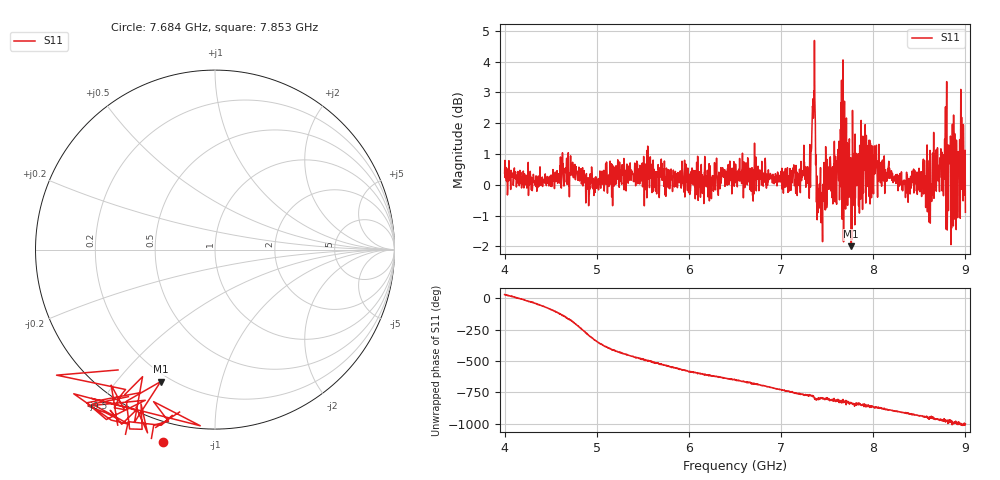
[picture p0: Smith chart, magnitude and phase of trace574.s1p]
! Created with skrf 1.8.0 (http://scikit-rf.org).
# Hz S RI R 50.0
!freq ReS11 ImS11
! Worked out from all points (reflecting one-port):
!   1601 points, 4 GHz to 9 GHz, reference 50 ohm
!   lowest |S11| = -2.0 dB at 7.762 GHz (marker M1), VSWR 8.77, Z = 8.21 - j32.9 ohm
!   phase of S11 starts at 31 deg and turns -1034 deg over the sweep
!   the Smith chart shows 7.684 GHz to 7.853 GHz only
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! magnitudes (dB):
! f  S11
! 4 GHz  0.4
! 4.625 GHz  0.6
! 4.906 GHz  0.2
! 5.25 GHz  0.6
! 5.875 GHz  -0.1
! 6.5 GHz  0.2
! 7.125 GHz  0.4
! 7.294 GHz  0.1
! 7.35 GHz  2.2
! 7.362 GHz  4.7
! 7.4 GHz  -0.9
! 7.425 GHz  0.1
! 7.509 GHz  0.4
! 7.609 GHz  0.7
! 7.666 GHz  2.5
! 7.703 GHz  -0.1
! 7.75 GHz  -0.4
! 7.762 GHz  -2.0
! 7.928 GHz  1.2
! 8.375 GHz  0.0
! 8.541 GHz  0.7
! 8.612 GHz  -0.4
! 8.675 GHz  -0.1
! 8.816 GHz  -0.8
! 8.828 GHz  1.0
! 8.956 GHz  0.2
! 8.972 GHz  0.7
! 9 GHz  -0.9
